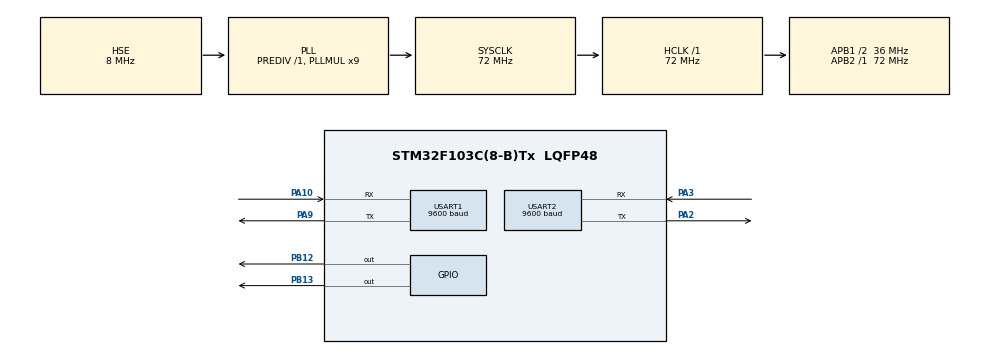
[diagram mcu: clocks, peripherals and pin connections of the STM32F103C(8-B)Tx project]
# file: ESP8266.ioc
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Mcu.Family=STM32F1
Mcu.Name=STM32F103C(8-B)Tx
Mcu.Package=LQFP48
NVIC.PriorityGroup=NVIC_PRIORITYGROUP_4
NVIC.USART1_IRQn=true\:0\:0\:false\:false\:true
NVIC.USART2_IRQn=true\:0\:0\:false\:false\:true
PA10.Mode=Asynchronous
PA10.Signal=USART1_RX
PA13.Mode=Serial_Wire
PA13.Signal=SYS_JTMS-SWDIO
PA14.Mode=Serial_Wire
PA14.Signal=SYS_JTCK-SWCLK
PA2.Mode=Asynchronous
PA2.Signal=USART2_TX
PA3.Mode=Asynchronous
PA3.Signal=USART2_RX
PA9.Mode=Asynchronous
PA9.Signal=USART1_TX
PB12.Signal=GPIO_Output
PB13.Signal=GPIO_Output
PD0-OSC_IN.Mode=HSE-External-Oscillator
PD0-OSC_IN.Signal=RCC_OSC_IN
PD1-OSC_OUT.Mode=HSE-External-Oscillator
PD1-OSC_OUT.Signal=RCC_OSC_OUT
ProjectManager.HeapSize=0x200
ProjectManager.StackSize=0x400
ProjectManager.TargetToolchain=MDK-ARM V5
RCC.AHBFreq_Value=72000000
RCC.APB1CLKDivider=RCC_HCLK_DIV2
RCC.APB1Freq_Value=36000000
RCC.APB1TimFreq_Value=72000000
RCC.APB2Freq_Value=72000000
RCC.APB2TimFreq_Value=72000000
RCC.HCLKFreq_Value=72000000
RCC.PLLMUL=RCC_PLL_MUL9
RCC.PLLSourceVirtual=RCC_PLLSOURCE_HSE
RCC.SYSCLKFreq_VALUE=72000000
RCC.SYSCLKSource=RCC_SYSCLKSOURCE_PLLCLK
RCC.USBFreq_Value=72000000
USART1.BaudRate=9600
USART1.VirtualMode=VM_ASYNC
USART2.BaudRate=9600
USART2.VirtualMode=VM_ASYNC
board=ESP8266

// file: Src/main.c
/**
  ******************************************************************************
  * File Name          : main.c
  * Description        : Main program body
  ******************************************************************************
  ** This notice applies to any and all portions of this file
  * that are not between comment pairs USER CODE BEGIN and
  * USER CODE END. Other portions of this file, whether
  * inserted by the user or by software development tools
  * are owned by their respective copyright owners.
  *
  * COPYRIGHT(c) 2018 STMicroelectronics
  *
  * Redistribution and use in source and binary forms, with or without modification,
  * are permitted provided that the following conditions are met:
  *   1. Redistributions of source code must retain the above copyright notice,
  *      this list of conditions and the following disclaimer.
  *   2. Redistributions in binary form must reproduce the above copyright notice,
  *      this list of conditions and the following disclaimer in the documentation
  *      and/or other materials provided with the distribution.
  *   3. Neither the name of STMicroelectronics nor the names of its contributors
  *      may be used to endorse or promote products derived from this software
  *      without specific prior written permission.
  *
  * THIS SOFTWARE IS PROVIDED BY THE COPYRIGHT HOLDERS AND CONTRIBUTORS "AS IS"
  * AND ANY EXPRESS OR IMPLIED WARRANTIES, INCLUDING, BUT NOT LIMITED TO, THE
  * IMPLIED WARRANTIES OF MERCHANTABILITY AND FITNESS FOR A PARTICULAR PURPOSE ARE
  * DISCLAIMED. IN NO EVENT SHALL THE COPYRIGHT HOLDER OR CONTRIBUTORS BE LIABLE
  * FOR ANY DIRECT, INDIRECT, INCIDENTAL, SPECIAL, EXEMPLARY, OR CONSEQUENTIAL
  * DAMAGES (INCLUDING, BUT NOT LIMITED TO, PROCUREMENT OF SUBSTITUTE GOODS OR
  * SERVICES; LOSS OF USE, DATA, OR PROFITS; OR BUSINESS INTERRUPTION) HOWEVER
  * CAUSED AND ON ANY THEORY OF LIABILITY, WHETHER IN CONTRACT, STRICT LIABILITY,
  * OR TORT (INCLUDING NEGLIGENCE OR OTHERWISE) ARISING IN ANY WAY OUT OF THE USE
  * OF THIS SOFTWARE, EVEN IF ADVISED OF THE POSSIBILITY OF SUCH DAMAGE.
  *
  ******************************************************************************
  */
#include "main.h"
#include "stm32f1xx_hal.h"

UART_HandleTypeDef huart1;
UART_HandleTypeDef huart2;

/* USER CODE BEGIN PV */
/* Private variables ---------------------------------------------------------*/
int i=0,j=0,k=0,l=0,m=0,d=0;
char buffer[100],buffer2[100];
int len=0;
char Rx_indx, Rx_data[2], Rx_Buffer[100], Transfer_cplt;
char Rx_indx2, Rx_data2[2], Rx_Buffer2[100], Transfer_cplt2;
uint8_t data3[200];
uint8_t data2[200];
uint8_t data1[200];
/* USER CODE END PV */

void SystemClock_Config(void);
static void MX_GPIO_Init(void);
static void MX_USART1_UART_Init(void);
static void MX_USART2_UART_Init(void);

/* USER CODE BEGIN PFP */
/* Private function prototypes -----------------------------------------------*/
void HAL_UART_RxCpltCallback(UART_HandleTypeDef *huart)
{
    if (huart->Instance == USART1)  //current UART
    {
				data1[k] = Rx_data[0];
				++k;

        if (Rx_indx==0)    //clear Rx_Buffer before receiving new data
				{
					for (uint8_t i=0;i<100;++i)
					{
					 Rx_Buffer[i]=0;
					}
				}
        if (Rx_data[0]!=13) //if received data different from ascii 13 (enter)
        {
            Rx_Buffer[Rx_indx++]=Rx_data[0];    //add data to Rx_Buffer
        }
        else            //if received data = 13
        {
						++j;
            Rx_indx=0;
            Transfer_cplt=1;//transfer complete, data is ready to read
        }
        HAL_UART_Receive_IT(&huart1, Rx_data, 1);   //activate UART receive interrupt every time
     }
		else if(huart->Instance == USART2)
		{
				data3[m] = Rx_data2[0];
				++m;
				if (Rx_indx2==0)    //clear Rx_Buffer before receiving new data
				{
					for (uint8_t i=0;i<100;++i)
					{
						Rx_Buffer2[i]=0;
					}
				}
        if (Rx_data2[0]!=13) //if received data different from ascii 13 (enter)
        {
            Rx_Buffer2[Rx_indx2++]=Rx_data2[0];    //add data to Rx_Buffer
        }
        else            //if received data = 13
        {
            Rx_indx2=0;
            Transfer_cplt2=1;//transfer complete, data is ready to read
        }
				HAL_UART_Receive_IT(&huart2, Rx_data2, 1);   //activate UART receive interrupt every time
		}
}

/* USER CODE END PFP */

int main(void)
{

  /* MCU Configuration----------------------------------------------------------*/

  /* Reset of all peripherals, Initializes the Flash interface and the Systick. */
  HAL_Init();

  /* Configure the system clock */
  SystemClock_Config();

  /* Initialize all configured peripherals */
  MX_GPIO_Init();
  MX_USART1_UART_Init();
  MX_USART2_UART_Init();

  /* USER CODE BEGIN 2 */
	HAL_UART_Receive_IT(&huart1,Rx_data,1);
	HAL_UART_Receive_IT(&huart2,Rx_data2,1);

  /* USER CODE END 2 */

  /* Infinite loop */
  while (1)
  {

  /* USER CODE BEGIN 3 */
		if(Transfer_cplt)
		{
					sprintf(buffer,"%s\r\n",Rx_Buffer);
					len = strlen(buffer);
					HAL_UART_Transmit(&huart2,buffer,len,1000);
					Transfer_cplt = 0;
		}
		else if(Transfer_cplt2)
		{
					sprintf(buffer2,"%s",Rx_Buffer2);
					len = strlen(buffer2);
					HAL_UART_Transmit(&huart1,buffer2,len,1000);
					Transfer_cplt2 = 0;
		}
  }
  /* USER CODE END 3 */

}

/** System Clock Configuration
*/
void SystemClock_Config(void)
{

  RCC_OscInitTypeDef RCC_OscInitStruct;
  RCC_ClkInitTypeDef RCC_ClkInitStruct;

    /**Initializes the CPU, AHB and APB busses clocks
    */
  RCC_OscInitStruct.OscillatorType = RCC_OSCILLATORTYPE_HSE;
  RCC_OscInitStruct.HSEState = RCC_HSE_ON;
  RCC_OscInitStruct.HSEPredivValue = RCC_HSE_PREDIV_DIV1;
  RCC_OscInitStruct.HSIState = RCC_HSI_ON;
  RCC_OscInitStruct.PLL.PLLState = RCC_PLL_ON;
  RCC_OscInitStruct.PLL.PLLSource = RCC_PLLSOURCE_HSE;
  RCC_OscInitStruct.PLL.PLLMUL = RCC_PLL_MUL9;
  if (HAL_RCC_OscConfig(&RCC_OscInitStruct) != HAL_OK)
  {
    _Error_Handler(__FILE__, __LINE__);
  }

    /**Initializes the CPU, AHB and APB busses clocks
    */
  RCC_ClkInitStruct.ClockType = RCC_CLOCKTYPE_HCLK|RCC_CLOCKTYPE_SYSCLK
                              |RCC_CLOCKTYPE_PCLK1|RCC_CLOCKTYPE_PCLK2;
  RCC_ClkInitStruct.SYSCLKSource = RCC_SYSCLKSOURCE_PLLCLK;
  RCC_ClkInitStruct.AHBCLKDivider = RCC_SYSCLK_DIV1;
  RCC_ClkInitStruct.APB1CLKDivider = RCC_HCLK_DIV2;
  RCC_ClkInitStruct.APB2CLKDivider = RCC_HCLK_DIV1;

  if (HAL_RCC_ClockConfig(&RCC_ClkInitStruct, FLASH_LATENCY_2) != HAL_OK)
  {
    _Error_Handler(__FILE__, __LINE__);
  }

    /**Configure the Systick interrupt time
    */
  HAL_SYSTICK_Config(HAL_RCC_GetHCLKFreq()/1000);

    /**Configure the Systick
    */
  HAL_SYSTICK_CLKSourceConfig(SYSTICK_CLKSOURCE_HCLK);

  /* SysTick_IRQn interrupt configuration */
  HAL_NVIC_SetPriority(SysTick_IRQn, 0, 0);
}

/* USART1 init function */
static void MX_USART1_UART_Init(void)
{

  huart1.Instance = USART1;
  huart1.Init.BaudRate = 9600;
  huart1.Init.WordLength = UART_WORDLENGTH_8B;
  huart1.Init.StopBits = UART_STOPBITS_1;
  huart1.Init.Parity = UART_PARITY_NONE;
  huart1.Init.Mode = UART_MODE_TX_RX;
  huart1.Init.HwFlowCtl = UART_HWCONTROL_NONE;
  huart1.Init.OverSampling = UART_OVERSAMPLING_16;
  if (HAL_UART_Init(&huart1) != HAL_OK)
  {
    _Error_Handler(__FILE__, __LINE__);
  }

}

/* USART2 init function */
static void MX_USART2_UART_Init(void)
{

  huart2.Instance = USART2;
  huart2.Init.BaudRate = 9600;
  huart2.Init.WordLength = UART_WORDLENGTH_8B;
  huart2.Init.StopBits = UART_STOPBITS_1;
  huart2.Init.Parity = UART_PARITY_NONE;
  huart2.Init.Mode = UART_MODE_TX_RX;
  huart2.Init.HwFlowCtl = UART_HWCONTROL_NONE;
  huart2.Init.OverSampling = UART_OVERSAMPLING_16;
  if (HAL_UART_Init(&huart2) != HAL_OK)
  {
    _Error_Handler(__FILE__, __LINE__);
  }

}

/** Configure pins as
        * Analog
        * Input
        * Output
        * EVENT_OUT
        * EXTI
*/
static void MX_GPIO_Init(void)
{

  /* GPIO Ports Clock Enable */
  __HAL_RCC_GPIOD_CLK_ENABLE();
  __HAL_RCC_GPIOA_CLK_ENABLE();

}

void _Error_Handler(char * file, int line)
{
  while(1)
  {
  }
}

/************************ (C) COPYRIGHT STMicroelectronics *****END OF FILE****/
